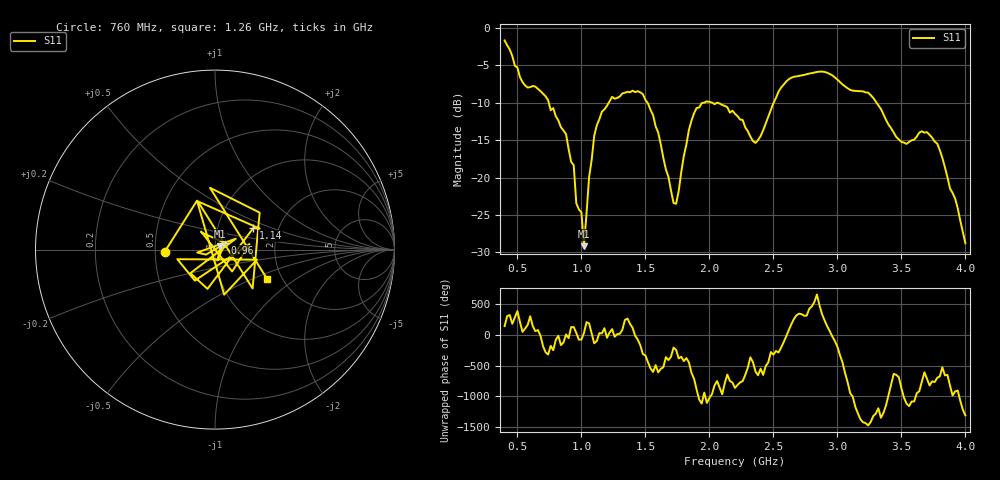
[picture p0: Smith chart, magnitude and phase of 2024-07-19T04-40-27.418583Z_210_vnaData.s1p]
!Created with skrf (http://scikit-rf.org).
# Hz S RI R 50.0
!freq ReS11 ImS11
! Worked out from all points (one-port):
!   181 points, 400 MHz to 4 GHz, reference 50 ohm
!   lowest |S11| = -29.2 dB at 1.02 GHz (marker M1), VSWR 1.07, Z = 53 + j1.93 ohm
!   |S11| at or under -10 dB: 744.8 MHz to 1.214 GHz (469.1 MHz wide, 47.9 % of centre); 2.022 GHz to 2.502 GHz (480.5 MHz wide, 21.2 % of centre); 3.306 GHz to end of sweep (the widest 3 of 4)
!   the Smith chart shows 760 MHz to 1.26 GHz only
!   S11 on the Smith chart (normalised r, x): 760 MHz: 0.56, -0.02; 960 MHz: 1.12, +0.08; 1.14 GHz: 1.48, +0.38; 1.26 GHz: 1.68, -0.63
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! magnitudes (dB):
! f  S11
! 400 MHz  -1.7
! 540 MHz  -7.3
! 760 MHz  -11.0
! 860 MHz  -13.7
! 940 MHz  -18.4
! 960 MHz  -23.4
! 1 GHz  -24.6
! 1.02 GHz  -29.2
! 1.06 GHz  -20.0
! 1.1 GHz  -14.4
! 1.14 GHz  -12.2
! 1.26 GHz  -9.5
! 1.3 GHz  -9.2
! 1.48 GHz  -8.9
! 1.6 GHz  -14.0
! 1.72 GHz  -23.4
! 1.76 GHz  -21.8
! 1.84 GHz  -13.6
! 1.9 GHz  -10.7
! 2.2 GHz  -11.5
! 2.36 GHz  -15.4
! 2.66 GHz  -6.5
! 2.9 GHz  -5.9
! 3.1 GHz  -8.3
! 3.24 GHz  -8.7
! 3.56 GHz  -15.2
! 3.78 GHz  -15.5
! 4 GHz  -28.8
